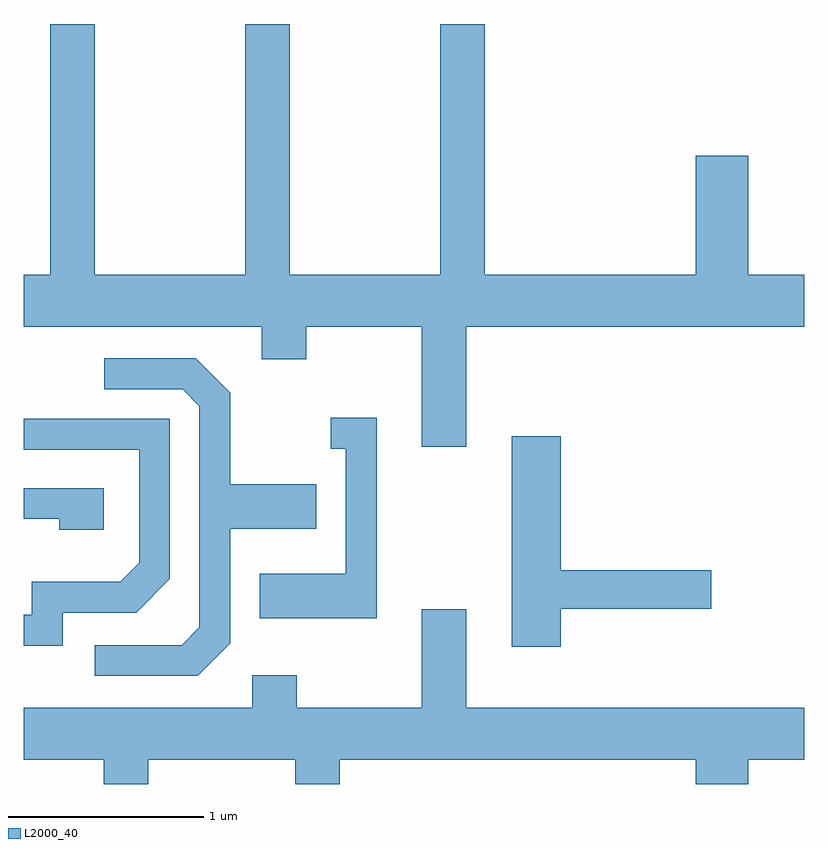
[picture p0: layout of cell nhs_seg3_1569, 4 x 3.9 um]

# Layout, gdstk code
import gdstk
lib = gdstk.Library(unit=1e-6, precision=1e-09)
def P(c, l, *ps):  # polygons
    for p in ps: c.add(gdstk.Polygon(p, *l))
L2000_40 = (2000, 40)

nhs_seg3_1569 = lib.new_cell('nhs_seg3_1569')
P(nhs_seg3_1569, L2000_40, [(233.879,1128.236),(235.611,1128.236),(235.611,1128.504),(235.324,1128.504),(235.324,1129.114),(235.056,1129.114),(235.056,1128.504),(233.974,1128.504),(233.974,1129.789),(233.746,1129.789),(233.746,1128.504),(232.974,1128.504),(232.974,1129.789),(232.746,1129.789),(232.746,1128.504),(231.974,1128.504),(231.974,1129.789),(231.746,1129.789),(231.746,1128.504),(231.611,1128.504),(231.611,1128.236),(232.831,1128.236),(232.831,1128.071),(233.059,1128.071),(233.059,1128.236),(233.651,1128.236),(233.651,1127.621),(233.879,1127.621)],
  [(232.669,1126.614),(232.669,1127.201),(233.109,1127.201),(233.109,1127.429),(232.669,1127.429),(232.669,1127.897),(232.492,1128.074),(232.023,1128.074),(232.023,1127.916),(232.424,1127.916),(232.511,1127.829),(232.511,1126.697),(232.419,1126.604),(231.973,1126.604),(231.973,1126.446),(232.502,1126.446)],
  [(233.419,1127.769),(233.183,1127.769),(233.183,1127.611),(233.261,1127.611),(233.261,1126.969),(232.821,1126.969),(232.821,1126.741),(233.419,1126.741)],
  [(231.809,1126.771),(232.187,1126.771),(232.359,1126.944),(232.359,1127.764),(231.611,1127.764),(231.611,1127.606),(232.201,1127.606),(232.201,1127.027),(232.104,1126.929),(231.651,1126.929),(231.651,1126.759),(231.611,1126.759),(231.611,1126.601),(231.809,1126.601)],
  [(234.364,1126.791),(235.134,1126.791),(235.134,1126.989),(234.364,1126.989),(234.364,1127.674),(234.111,1127.674),(234.111,1126.596),(234.364,1126.596)],
  [(232.019,1127.409),(231.611,1127.409),(231.611,1127.251),(231.791,1127.251),(231.791,1127.196),(232.019,1127.196)],
  [(232.249,1126.016),(233.001,1126.016),(233.001,1125.892),(233.229,1125.892),(233.229,1126.016),(235.056,1126.016),(235.056,1125.892),(235.324,1125.892),(235.324,1126.016),(235.611,1126.016),(235.611,1126.284),(233.879,1126.284),(233.879,1126.789),(233.651,1126.789),(233.651,1126.284),(233.009,1126.284),(233.009,1126.449),(232.781,1126.449),(232.781,1126.284),(231.611,1126.284),(231.611,1126.016),(232.021,1126.016),(232.021,1125.892),(232.249,1125.892)])

lib.write_gds('nhs_seg3_1569.gds')
